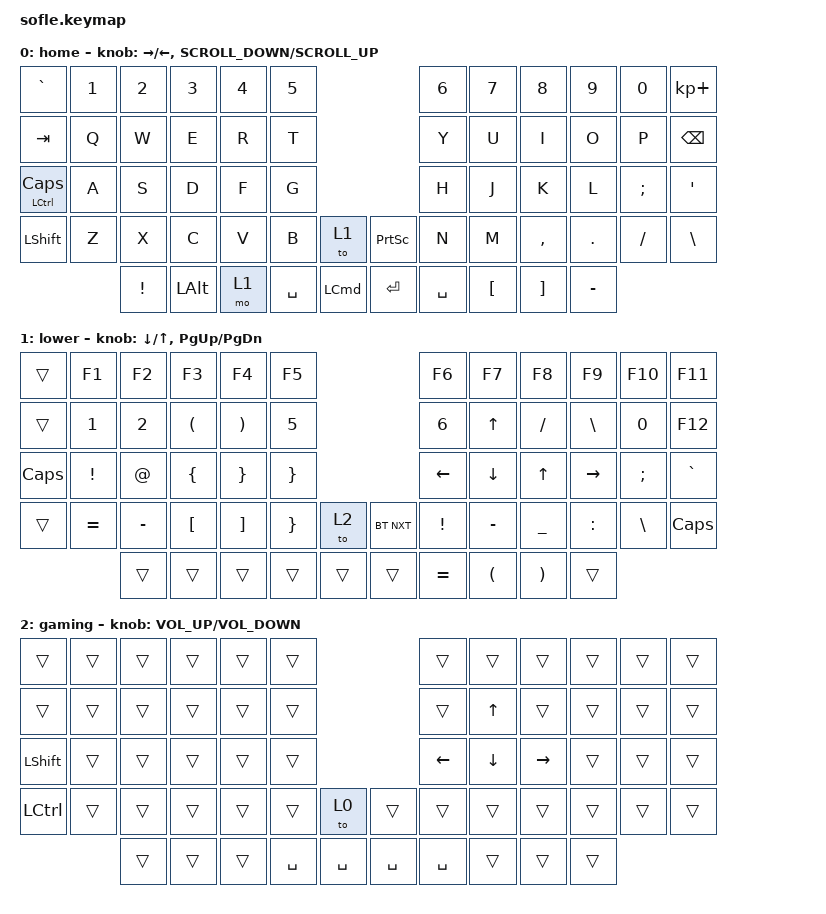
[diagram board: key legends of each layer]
/*
 * Copyright (c) 2020 The ZMK Contributors
 *
 * SPDX-License-Identifier: MIT
 */

#include <behaviors.dtsi>
#include <dt-bindings/zmk/bt.h>
#include <dt-bindings/zmk/keys.h>

#define BASE 0
#define LOWER 1
#define RAISE 2
#define ADJUST 3

/ {
    // Activate ADJUST layer by pressing raise and lower

    conditional_layers {
        compatible = "zmk,conditional-layers";

        adjust_layer {
            if-layers = <1 2>;
            then-layer = <3>;
        };
    };

    keymap {
        compatible = "zmk,keymap";

        default_layer {
            display-name = "home";

            // ------------------------------------------------------------------------------------------------------------
            // |   `   |  1  |  2  |  3   |  4   |  5   |                   |  6   |  7    |  8    |  9   |   0   |       |
            // |  ESC  |  Q  |  W  |  E   |  R   |  T   |                   |  Y   |  U    |  I    |  O   |   P   | BKSPC |
            // |  TAB  |  A  |  S  |  D   |  F   |  G   |                   |  H   |  J    |  K    |  L   |   ;   |   '   |
            // | SHIFT |  Z  |  X  |  C   |  V   |  B   |  MUTE  |  |       |  N   |  M    |  ,    |  .   |   /   | SHIFT |
            //               | GUI | ALT  | CTRL | LOWER|  ENTER |  | SPACE | RAISE| CTRL  | ALT   | GUI  |

            bindings = <
&kp GRAVE                  &kp N1  &kp N2           &kp N3    &kp N4  &kp N5                                  &kp N6     &kp N7            &kp N8             &kp N9     &kp N0    &kp KP_PLUS
&kp TAB                    &kp Q   &kp W            &kp E     &kp R   &kp T                                   &kp Y      &kp U             &kp I              &kp O      &kp P     &kp BACKSPACE
&mt LEFT_CONTROL CAPSLOCK  &kp A   &kp S            &kp D     &kp F   &kp G                                   &kp H      &kp J             &kp K              &kp L      &kp SEMI  &kp SQT
&kp LEFT_SHIFT             &kp Z   &kp X            &kp C     &kp V   &kp B      &to 1       &kp PRINTSCREEN  &kp N      &kp M             &kp COMMA          &kp DOT    &kp FSLH  &kp BACKSLASH
                                   &kp EXCLAMATION  &kp LALT  &mo 1   &kp SPACE  &kp LCMD    &kp ENTER        &kp SPACE  &kp LEFT_BRACKET  &kp RIGHT_BRACKET  &kp MINUS
            >;

            sensor-bindings =
                <&inc_dec_kp RIGHT LEFT_ARROW>,
                <&inc_dec_kp K_SCROLL_DOWN K_SCROLL_UP>;
        };

        lower_layer {
            display-name = "lower";

            // TODO: Some binds are waiting for shifted keycode support.
            // ------------------------------------------------------------------------------------------------------------
            // |       |  F1 |  F2 |  F3  |  F4  |  F5  |                   |  F6  |  F7   |  F8   |  F9  |  F10  |  F11  |
            // |   `   |  1  |  2  |  3   |  4   |  5   |                   |  6   |  7    |  8    |  9   |   0   |  F12  |
            // |       |  !  |  @  |  #   |  $   |  %   |                   |  ^   |  &    |  *    |  (   |   )   |   |   |
            // |       |  =  |  -  |  +   |  {   |  }   |        |  |       |  [   |  ]    |  ;    |  :   |   \   |       |
            //               |     |      |      |      |        |  |       |      |       |       |      |

            bindings = <
&trans        &kp F1     &kp F2     &kp F3                &kp F4                 &kp F5                                 &kp F6     &kp F7                &kp F8                 &kp F9           &kp F10   &kp F11
&trans        &kp N1     &kp N2     &kp LEFT_PARENTHESIS  &kp RIGHT_PARENTHESIS  &kp N5                                 &kp N6     &kp UP_ARROW          &kp SLASH              &kp BACKSLASH    &kp N0    &kp F12
&kp CAPSLOCK  &kp EXCL   &kp AT     &kp LEFT_BRACE        &kp RIGHT_BRACE        &kp RIGHT_BRACE                        &kp LEFT   &kp DOWN_ARROW        &kp UP_ARROW           &kp RIGHT_ARROW  &kp SEMI  &kp GRAVE
&trans        &kp EQUAL  &kp MINUS  &kp LEFT_BRACKET      &kp RIGHT_BRACKET      &kp RBRC         &to 2     &bt BT_NXT  &kp EXCL   &kp MINUS             &kp UNDERSCORE         &kp COLON        &kp BSLH  &kp CAPS
                         &trans     &trans                &trans                 &trans           &trans    &trans      &kp EQUAL  &kp LEFT_PARENTHESIS  &kp RIGHT_PARENTHESIS  &trans
            >;

            sensor-bindings =
                <&inc_dec_kp DOWN_ARROW UP_ARROW>,
                <&inc_dec_kp PG_UP PG_DN>;
        };

        gaming {
            bindings = <
&trans     &trans  &trans  &trans  &trans  &trans                             &trans     &trans    &trans     &trans  &trans  &trans
&trans     &trans  &trans  &trans  &trans  &trans                             &trans     &kp UP    &trans     &trans  &trans  &trans
&kp LSHFT  &trans  &trans  &trans  &trans  &trans                             &kp LEFT   &kp DOWN  &kp RIGHT  &trans  &trans  &trans
&kp LCTRL  &trans  &trans  &trans  &trans  &trans     &to 0        &trans     &trans     &trans    &trans     &trans  &trans  &trans
                   &trans  &trans  &trans  &kp SPACE  &kp SPACE    &kp SPACE  &kp SPACE  &trans    &trans     &trans
            >;

            sensor-bindings = <&inc_dec_kp K_VOLUME_UP K_VOLUME_DOWN>;
        };
    };
};
